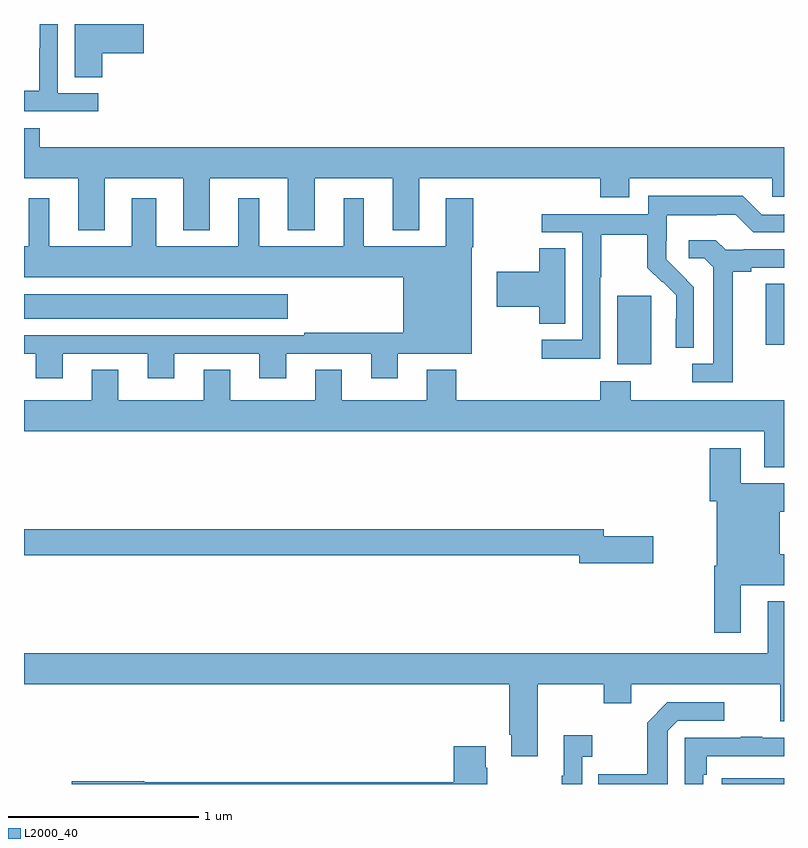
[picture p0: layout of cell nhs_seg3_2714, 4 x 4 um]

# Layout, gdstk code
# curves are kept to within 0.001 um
import gdstk
lib = gdstk.Library(unit=1e-6, precision=1e-09)
def R(c, l, rs):  # rectangles x0, y0, x1, y1
    for r in rs: c.add(gdstk.rectangle(r[:2], r[2:], *l))
def P(c, l, *ps):  # polygons
    for p in ps: c.add(gdstk.Polygon(p, *l))
L2000_40 = (2000, 40)

nhs_seg3_2714 = lib.new_cell('nhs_seg3_2714')
R(nhs_seg3_2714, L2000_40, [(254.673,692.4,255,692.43), (254.123,694.61,254.302,694.971), (254.903,694.713,255,695.033), (251,694.85,252.388,694.978)])
P(nhs_seg3_2714, L2000_40, [(251.411,696.245),(251.629,696.245),(251.629,696.4),(251.267,696.4),(251.267,696.121),(251.411,696.121)],
  [(251.392,696.036),(251.178,696.036),(251.178,696.4),(251.082,696.4),(251.082,696.272),(251.08,696.272),(251.08,696.049),(251,696.049),(251,695.94),(251.392,695.94)],
  [(251.425,695.588),(251.837,695.588),(251.837,695.315),(251.977,695.315),(251.977,695.588),(252.389,695.588),(252.389,695.315),(252.529,695.315),(252.529,695.588),(252.941,695.588),(252.941,695.315),(253.081,695.315),(253.081,695.588),(254.033,695.588),(254.033,695.489),(254.185,695.489),(254.185,695.588),(254.937,695.588),(254.937,695.49),(255,695.49),(255,695.752),(251.084,695.752),(251.084,695.851),(251,695.851),(251,695.588),(251.285,695.588),(251.285,695.315),(251.425,695.315)],
  [(254.034,695.068),(254.037,695.068),(254.037,695.292),(254.281,695.292),(254.281,695.117),(254.358,695.04),(254.361,695.043),(254.432,694.973),(254.432,694.85),(254.43,694.85),(254.43,694.696),(254.526,694.696),(254.526,695.014),(254.38,695.162),(254.38,695.259),(254.382,695.259),(254.382,695.393),(254.645,695.393),(254.645,695.397),(254.745,695.397),(254.838,695.304),(255,695.304),(255,695.4),(254.999,695.397),(254.883,695.397),(254.783,695.497),(254.286,695.497),(254.286,695.4),(253.725,695.4),(253.725,695.304),(253.938,695.304),(253.938,694.737),(253.725,694.737),(253.725,694.639),(254.034,694.639)],
  [(251.203,694.665),(251.651,694.665),(251.651,694.536),(251.791,694.536),(251.791,694.665),(252.239,694.665),(252.239,694.536),(252.379,694.536),(252.379,694.665),(252.827,694.665),(252.827,694.536),(252.967,694.536),(252.967,694.664),(253.357,694.664),(253.357,695.226),(253.365,695.226),(253.365,695.482),(253.22,695.482),(253.22,695.23),(252.787,695.23),(252.787,695.482),(252.683,695.482),(252.683,695.23),(252.238,695.23),(252.238,695.482),(252.128,695.482),(252.128,695.23),(251.695,695.23),(251.695,695.482),(251.567,695.482),(251.567,695.23),(251.134,695.23),(251.134,695.482),(251.024,695.482),(251.024,695.23),(251,695.23),(251,695.066),(252.995,695.066),(252.995,694.774),(252.475,694.774),(252.475,694.761),(251,694.761),(251,694.665),(251.063,694.665),(251.063,694.536),(251.203,694.536)],
  [(254.731,695.096),(254.827,695.096),(254.827,695.118),(255,695.118),(255,695.214),(254.788,695.214),(254.788,695.211),(254.694,695.211),(254.642,695.263),(254.499,695.263),(254.499,695.166),(254.58,695.166),(254.627,695.119),(254.627,694.611),(254.517,694.611),(254.517,694.515),(254.731,694.515)],
  [(253.849,695.219),(253.711,695.219),(253.711,695.096),(253.488,695.096),(253.488,694.913),(253.711,694.913),(253.711,694.822),(253.849,694.822)],
  [(255,694.42),(254.193,694.42),(254.193,694.519),(254.033,694.519),(254.033,694.42),(253.274,694.42),(253.274,694.579),(253.121,694.579),(253.121,694.42),(252.673,694.42),(252.673,694.58),(252.533,694.58),(252.533,694.42),(252.085,694.42),(252.085,694.58),(251.945,694.58),(251.945,694.42),(251.497,694.42),(251.497,694.58),(251.357,694.58),(251.357,694.42),(251,694.42),(251,694.256),(254.897,694.256),(254.897,694.067),(255,694.067)],
  [(254.773,693.446),(255,693.446),(255,693.61),(254.977,693.61),(254.977,693.833),(255,693.833),(255,693.982),(254.773,693.982),(254.773,694.168),(254.609,694.168),(254.609,693.888),(254.645,693.888),(254.645,693.55),(254.633,693.55),(254.633,693.195),(254.773,693.195)],
  [(254.311,693.704),(254.05,693.704),(254.05,693.74),(251,693.74),(251,693.604),(253.922,693.604),(253.922,693.562),(254.311,693.562)],
  [(253.705,692.924),(254.05,692.924),(254.05,692.825),(254.197,692.825),(254.197,692.924),(254.981,692.924),(254.981,692.73),(255,692.73),(255,693.361),(254.915,693.361),(254.915,693.088),(251,693.088),(251,692.924),(253.553,692.924),(253.553,692.659),(253.565,692.659),(253.565,692.547),(253.705,692.547)],
  [(254.388,692.679),(254.442,692.733),(254.686,692.733),(254.686,692.829),(254.385,692.829),(254.28,692.723),(254.28,692.451),(254.023,692.451),(254.023,692.4),(254.388,692.4)],
  [(253.938,692.543),(253.99,692.543),(253.99,692.656),(253.841,692.656),(253.841,692.443),(253.83,692.443),(253.83,692.4),(253.938,692.4)],
  [(254.574,692.45),(254.594,692.45),(254.594,692.547),(255,692.547),(255,692.643),(254.885,692.643),(254.885,692.648),(254.773,692.648),(254.773,692.643),(254.478,692.643),(254.478,692.4),(254.574,692.4)],
  [(253.437,692.486),(253.429,692.486),(253.429,692.599),(253.262,692.599),(253.262,692.408),(251.634,692.408),(251.634,692.414),(251.25,692.414),(251.25,692.4),(253.437,692.4)])

lib.write_gds('nhs_seg3_2714.gds')
